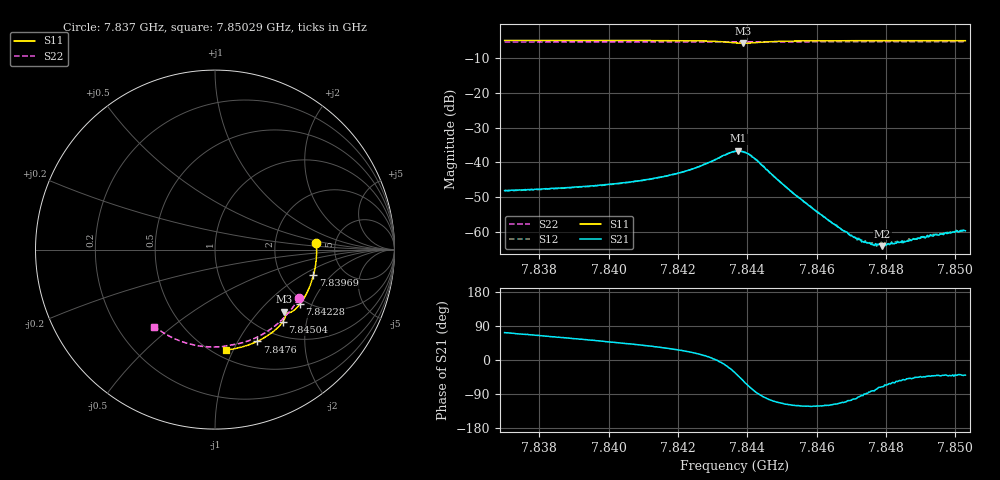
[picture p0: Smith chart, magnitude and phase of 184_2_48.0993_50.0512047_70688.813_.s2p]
#  HZ  S  RI  R  50.00
! Rohde & Schwarz Vector Network Analyzer
! Rohde-Schwarz,ZNB20-2Port,1311601062101988,3.16
! Created: UTC 12/23/2023, 3:53:05 AM
! freq[Hz]  re:S11  im:S11  re:S21  im:S21  re:S12  im:S12  re:S22  im:S22
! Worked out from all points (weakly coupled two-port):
!   401 points, 7.837 GHz to 7.85029 GHz, reference 50 ohm
!   highest |S21| = -36.61 dB at 7.84374 GHz (marker M1); lowest = -64.0 dB at 7.8479 GHz (marker M2)
!   lowest |S11| = -5.7 dB at 7.84388 GHz (marker M3), VSWR 3.14, Z = 73.6 - j69.3 ohm
!   |S11| at or under -10 dB: nowhere
!   |S22| runs from -5.4 to -5.3 dB; largest |S21 - S12| = 0.00037
!   S11 on the Smith chart (normalised r, x): 7.837 GHz: 3.57, +0.38; 7.83969 GHz: 3.03, -1.27; 7.84228 GHz: 1.84, -1.64; 7.84504 GHz: 1.25, -1.46; 7.8476 GHz: 0.81, -1.21; 7.85029 GHz: 0.57, -0.94
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7.836997e9  0.5651 0.0361  0.0012 0.00376  0.00124 0.00367  0.4672 -0.2699
7.839224e9  0.5557 -0.1116  0.00257 0.00367  0.00257 0.0036  0.3714 -0.3925
7.839689e9  0.5487 -0.1422  0.00297 0.00364  0.00294 0.00358  0.3469 -0.4143
7.841451e9  0.5052 -0.2542  0.00507 0.0034  0.005 0.00339  0.2446 -0.4828
7.842282e9  0.4729 -0.3045  0.00712 0.0029  0.00708 0.0029  0.1909 -0.5064
7.843146e9  0.423 -0.3488  0.0115 -0.000316  0.0115 -0.000445  0.1327 -0.5238
7.843645e9  0.3884 -0.3514  0.0121 -0.00803  0.012 -0.00795  0.0994 -0.5298
7.843744e9  0.3852 -0.3485  0.0109 -0.00999  0.0107 -0.00964  0.093 -0.5308
7.843877e9  0.3844 -0.3453  0.00834 -0.0116  0.00828 -0.0117  0.0847 -0.5323
7.844043e9  0.3878 -0.3452  0.0047 -0.0123  0.00477 -0.0123  0.0741 -0.5344
7.84421e9  0.392 -0.3512  0.00152 -0.0112  0.0016 -0.0113  0.0632 -0.5363
7.845041e9  0.3761 -0.4054  -0.00203 -0.00434  -0.002 -0.00436  0.00536 -0.5425
7.845872e9  0.3348 -0.4487  -0.00119 -0.00187  -0.00117 -0.00187  -0.0531 -0.5409
7.846437e9  0.3034 -0.4726  -0.00064 -0.00121  -0.00063 -0.00121  -0.0928 -0.5359
7.847101e9  0.2648 -0.4963  -0.000186 -0.000814  -0.000184 -0.000832  -0.1383 -0.5265
7.8476e9  0.2347 -0.5114  9.79e-05 -0.000656  0.000125 -0.000693  -0.1719 -0.5168
7.8477e9  0.2287 -0.5144  0.00014 -0.000667  0.000137 -0.000634  -0.1787 -0.5146
7.847899e9  0.2164 -0.5197  0.00021 -0.000596  0.000241 -0.000647  -0.1917 -0.51
7.848098e9  0.204 -0.5247  0.000311 -0.000582  0.000321 -0.000575  -0.205 -0.505
7.848564e9  0.1747 -0.5352  0.000448 -0.000572  0.000491 -0.000583  -0.2349 -0.4921
7.849428e9  0.1191 -0.5501  0.000692 -0.000615  0.000682 -0.000627  -0.2882 -0.4633
7.850292e9  0.0623 -0.5589  0.000801 -0.00067  0.00081 -0.000688  -0.338 -0.429
